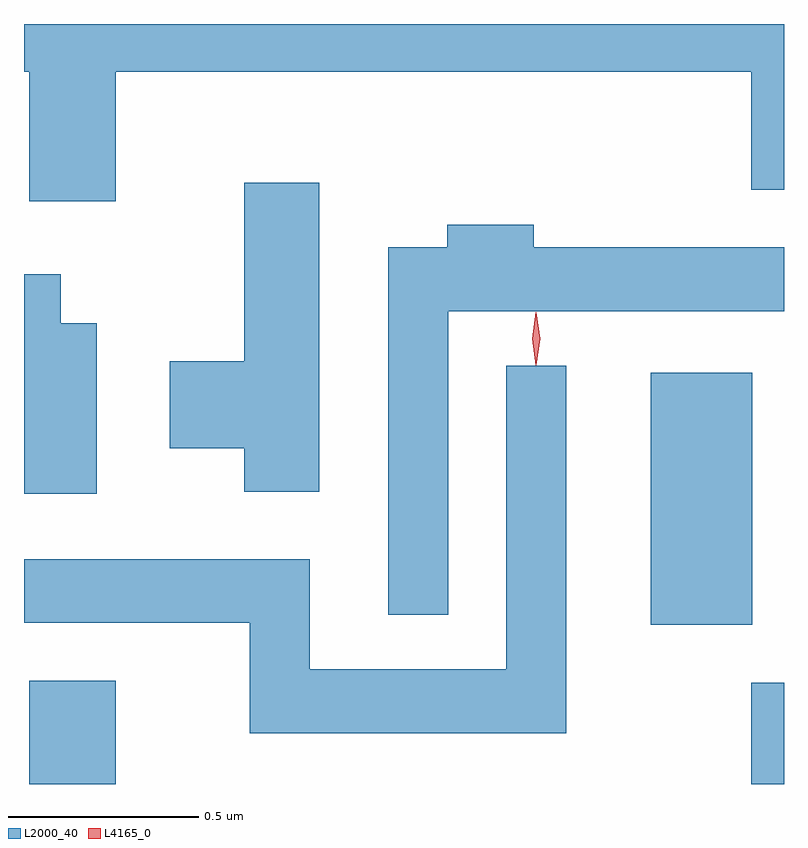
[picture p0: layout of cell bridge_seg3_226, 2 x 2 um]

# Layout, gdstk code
import gdstk
lib = gdstk.Library(unit=1e-6, precision=1e-09)
def R(c, l, rs):  # rectangles x0, y0, x1, y1
    for r in rs: c.add(gdstk.rectangle(r[:2], r[2:], *l))
def P(c, l, *ps):  # polygons
    for p in ps: c.add(gdstk.Polygon(p, *l))
L2000_40 = (2000, 40)
L4165_0 = (4165, 0)

bridge_seg3_226 = lib.new_cell('bridge_seg3_226')
R(bridge_seg3_226, L2000_40, [(922.171,1150.782,922.399,1151.054), (924.071,1150.782,924.157,1151.049), (923.806,1151.201,924.074,1151.864)])
P(bridge_seg3_226, L2000_40, [(922.399,1152.656),(924.071,1152.656),(924.071,1152.346),(924.157,1152.346),(924.157,1152.782),(922.157,1152.782),(922.157,1152.656),(922.171,1152.656),(922.171,1152.316),(922.399,1152.316)],
  [(922.934,1152.364),(922.736,1152.364),(922.736,1151.894),(922.541,1151.894),(922.541,1151.666),(922.736,1151.666),(922.736,1151.551),(922.934,1151.551)],
  [(923.274,1152.026),(924.157,1152.026),(924.157,1152.194),(923.499,1152.194),(923.499,1152.254),(923.271,1152.254),(923.271,1152.194),(923.116,1152.194),(923.116,1151.228),(923.274,1151.228)],
  [(922.349,1151.994),(922.254,1151.994),(922.254,1152.124),(922.157,1152.124),(922.157,1151.546),(922.349,1151.546)],
  [(923.584,1151.883),(923.426,1151.883),(923.426,1151.084),(922.909,1151.084),(922.909,1151.374),(922.157,1151.374),(922.157,1151.206),(922.751,1151.206),(922.751,1150.916),(923.584,1150.916)])
P(bridge_seg3_226, L4165_0, [(923.504,1151.884),(923.495,1151.954),(923.504,1152.023),(923.505,1152.023),(923.505,1152.023),(923.515,1151.954),(923.505,1151.884),(923.505,1151.884)],
  [(923.505,1151.887),(923.504,1151.888),(923.495,1151.954),(923.504,1152.02),(923.505,1152.021),(923.505,1152.02),(923.515,1151.954),(923.505,1151.888)])

lib.write_gds('bridge_seg3_226.gds')
